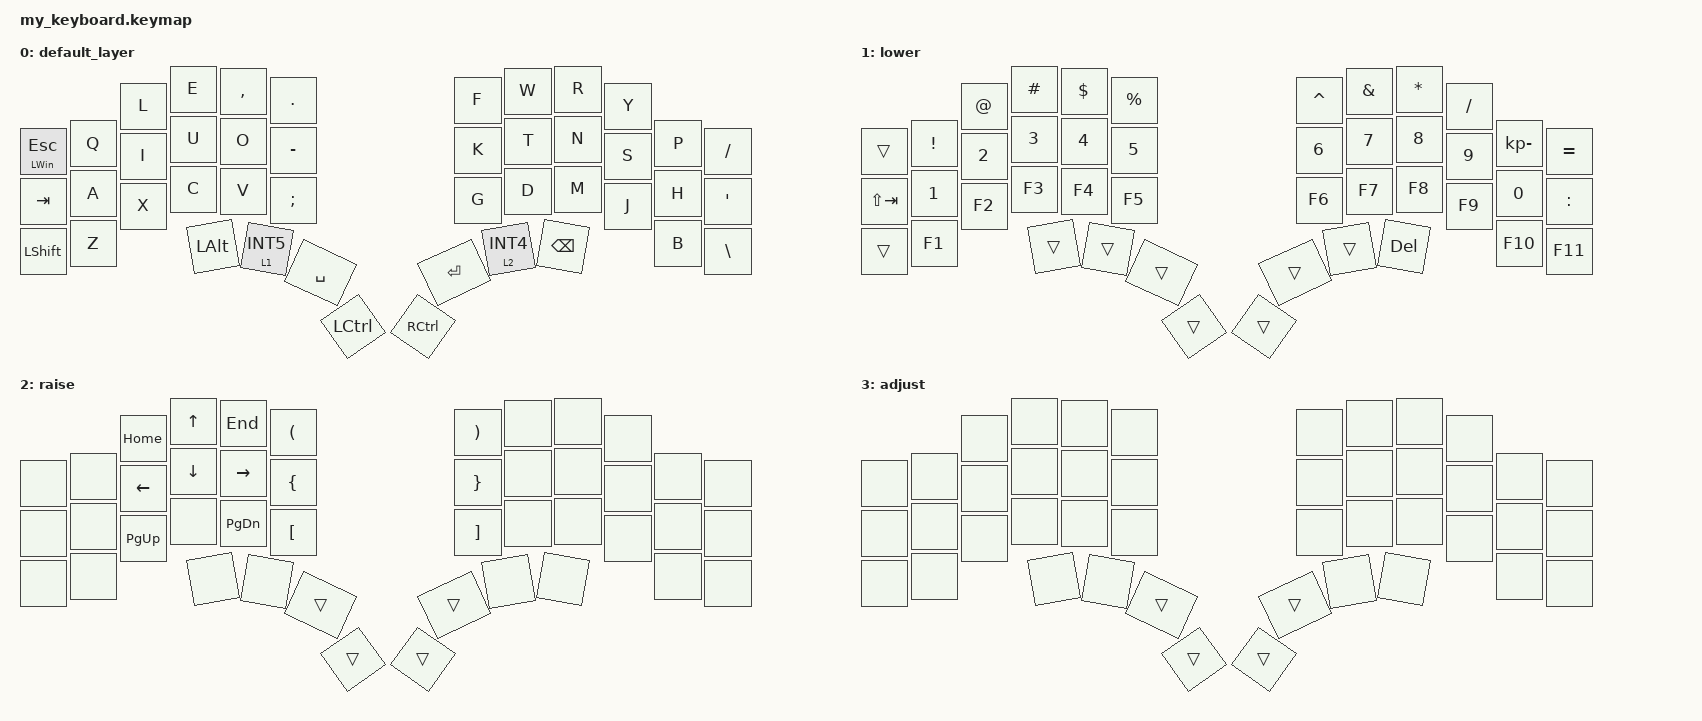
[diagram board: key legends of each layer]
#include <behaviors.dtsi>
#include <dt-bindings/zmk/keys.h>

#define LOWR 1
#define RAIS 2
#define ADJT 3

&lt { quick-tap-ms = <200>; };

&mt {
    quick-tap-ms = <200>;
    flavor = "tap-preferred";
};

/ {
    keymap {
        compatible = "zmk,keymap";

        default_layer {

            bindings = <
&mt LWIN ESC  &kp Q  &kp L  &kp E  &kp COMMA  &kp DOT  &kp F  &kp W  &kp R  &kp Y  &kp P  &kp FSLH  &kp TAB  &kp A  &kp I  &kp U  &kp O  &kp MINUS  &kp K  &kp T  &kp N  &kp S  &kp H  &kp SINGLE_QUOTE  &kp LSHFT  &kp Z  &kp X  &kp C  &kp V  &kp SEMI  &kp G  &kp D  &kp M  &kp J  &kp B  &kp BSLH  &kp LALT  &lt 1 INT5  &kp SPACE  &kp LCTRL  &kp RIGHT_CONTROL  &kp ENTER  &lt 2 INT4  &kp BSPC
            >;
        };
        lower {

            bindings = <
&trans  &kp EXCL  &kp AT  &kp HASH  &kp DLLR  &kp PRCNT  &kp CARET  &kp AMPS  &kp ASTRK  &kp SLASH  &kp KP_SUBTRACT  &kp EQUAL  &kp LS(TAB)  &kp N1  &kp N2  &kp N3  &kp N4  &kp N5  &kp N6  &kp N7  &kp N8  &kp N9  &kp N0  &kp COLON  &trans  &kp F1  &kp F2  &kp F3  &kp F4  &kp F5  &kp F6  &kp F7  &kp F8  &kp F9  &kp F10  &kp F11  &trans  &trans  &trans  &trans  &trans  &trans  &trans  &kp DEL
            >;
        };

        raise {


            bindings = <
&none  &none  &kp HOME  &kp UP  &kp END  &kp LPAR  &kp RPAR  &none  &none  &none  &none  &none  &none  &none  &kp LEFT  &kp DOWN  &kp RIGHT  &kp LBRC  &kp RBRC  &none  &none  &none  &none  &none  &none  &none  &kp PG_UP  &none  &kp PG_DN  &kp LBKT  &kp RBKT  &none  &none  &none  &none  &none  &none  &none  &trans  &trans  &trans  &trans  &none  &none
            >;
        };

        adjust {


            bindings = <
&none  &none  &none  &none  &none  &none  &none  &none  &none  &none  &none  &none  &none  &none  &none  &none  &none  &none  &none  &none  &none  &none  &none  &none  &none  &none  &none  &none  &none  &none  &none  &none  &none  &none  &none  &none  &none  &none  &trans  &trans  &trans  &trans  &none  &none
            >;
        };
    };
};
